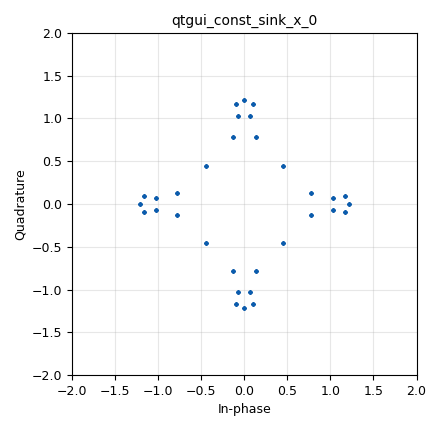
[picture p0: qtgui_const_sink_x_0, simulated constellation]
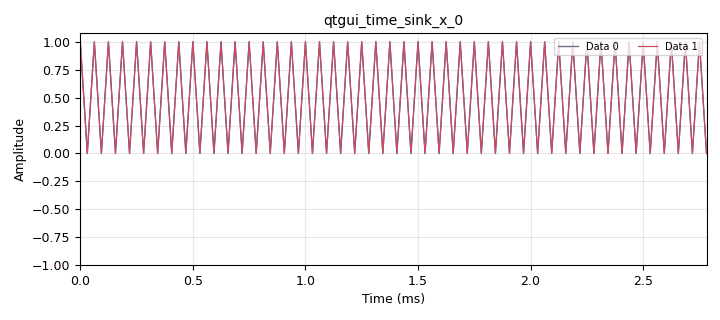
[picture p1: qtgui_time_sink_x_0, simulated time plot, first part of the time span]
<?xml version='1.0' encoding='utf-8'?>
<?grc format='1' created='3.7.10'?>
<flow_graph>
<block>
<key>options</key>
<param><key>id</key><value>BER</value></param>
<param><key>generate_options</key><value>qt_gui</value></param>
</block>
<block>
<key>variable</key>
<param><key>id</key><value>samp_rate</value></param>
<param><key>value</key><value>32000</value></param>
</block>
<block>
<key>blocks_char_to_float</key>
<param><key>id</key><value>blocks_char_to_float_0</value></param>
<param><key>scale</key><value>1</value></param>
</block>
<block>
<key>blocks_char_to_float</key>
<param><key>id</key><value>blocks_char_to_float_0_0</value></param>
<param><key>scale</key><value>1</value></param>
</block>
<block>
<key>blocks_delay</key>
<param><key>id</key><value>blocks_delay_0</value></param>
<param><key>delay</key><value>1</value></param>
<param><key>type</key><value>byte</value></param>
</block>
<block>
<key>blocks_pack_k_bits_bb</key>
<param><key>id</key><value>blocks_pack_k_bits_bb_0</value></param>
<param><key>k</key><value>2</value></param>
</block>
<block>
<key>blocks_throttle</key>
<param><key>id</key><value>blocks_throttle_0</value></param>
<param><key>samples_per_second</key><value>samp_rate</value></param>
<param><key>type</key><value>byte</value></param>
</block>
<block>
<key>blocks_unpacked_to_packed_xx</key>
<param><key>id</key><value>blocks_unpacked_to_packed_xx_0</value></param>
<param><key>bits_per_chunk</key><value>2</value></param>
<param><key>endianness</key><value>gr.GR_MSB_FIRST</value></param>
<param><key>type</key><value>byte</value></param>
</block>
<block>
<key>blocks_vector_source_x</key>
<param><key>id</key><value>blocks_vector_source_x_0</value></param>
<param><key>_enabled</key><value>0</value></param>
<param><key>type</key><value>byte</value></param>
<param><key>repeat</key><value>True</value></param>
<param><key>vlen</key><value>20</value></param>
<param><key>vector</key><value>(101,102,103,104,105,106,107,108,109,110,111,112,113,114,115,116,117,118,119,120)</value></param>
</block>
<block>
<key>blocks_vector_source_x</key>
<param><key>id</key><value>blocks_vector_source_x_0_0</value></param>
<param><key>type</key><value>byte</value></param>
<param><key>repeat</key><value>True</value></param>
<param><key>vector</key><value>(0,1,0,1)</value></param>
</block>
<block>
<key>blocks_vector_to_stream</key>
<param><key>id</key><value>blocks_vector_to_stream_0</value></param>
<param><key>_enabled</key><value>0</value></param>
<param><key>type</key><value>byte</value></param>
<param><key>num_items</key><value>20</value></param>
</block>
<block>
<key>digital_psk_demod</key>
<param><key>id</key><value>digital_psk_demod_0</value></param>
<param><key>differential</key><value>True</value></param>
<param><key>excess_bw</key><value>0.35</value></param>
<param><key>freq_bw</key><value>6.28/100.0</value></param>
<param><key>mod_code</key><value>"gray"</value></param>
<param><key>constellation_points</key><value>4</value></param>
<param><key>phase_bw</key><value>6.28/100.0</value></param>
<param><key>samples_per_symbol</key><value>4</value></param>
<param><key>timing_bw</key><value>6.28/100.0</value></param>
</block>
<block>
<key>digital_psk_mod</key>
<param><key>id</key><value>digital_psk_mod_0</value></param>
<param><key>differential</key><value>True</value></param>
<param><key>excess_bw</key><value>0.35</value></param>
<param><key>mod_code</key><value>"gray"</value></param>
<param><key>constellation_points</key><value>4</value></param>
<param><key>samples_per_symbol</key><value>4</value></param>
</block>
<block>
<key>fec_ber_bf</key>
<param><key>id</key><value>fec_ber_bf_0</value></param>
<param><key>test_mode</key><value>False</value></param>
</block>
<block>
<key>qtgui_const_sink_x</key>
<param><key>id</key><value>qtgui_const_sink_x_0</value></param>
<param><key>size</key><value>1024</value></param>
<param><key>type</key><value>complex</value></param>
</block>
<block>
<key>qtgui_number_sink</key>
<param><key>id</key><value>qtgui_number_sink_0</value></param>
<param><key>graph_type</key><value>qtgui.NUM_GRAPH_HORIZ</value></param>
<param><key>type</key><value>float</value></param>
</block>
<block>
<key>qtgui_time_sink_x</key>
<param><key>id</key><value>qtgui_time_sink_x_0</value></param>
<param><key>color1</key><value>"blue"</value></param>
<param><key>label1</key><value></value></param>
<param><key>color2</key><value>"red"</value></param>
<param><key>label2</key><value></value></param>
<param><key>nconnections</key><value>2</value></param>
<param><key>size</key><value>1024</value></param>
<param><key>srate</key><value>samp_rate</value></param>
<param><key>type</key><value>float</value></param>
</block>
<connection><source_block_id>blocks_char_to_float_0</source_block_id><sink_block_id>qtgui_time_sink_x_0</sink_block_id><source_key>0</source_key><sink_key>0</sink_key></connection>
<connection><source_block_id>blocks_char_to_float_0_0</source_block_id><sink_block_id>qtgui_time_sink_x_0</sink_block_id><source_key>0</source_key><sink_key>1</sink_key></connection>
<connection><source_block_id>blocks_delay_0</source_block_id><sink_block_id>blocks_char_to_float_0</sink_block_id><source_key>0</source_key><sink_key>0</sink_key></connection>
<connection><source_block_id>blocks_delay_0</source_block_id><sink_block_id>fec_ber_bf_0</sink_block_id><source_key>0</source_key><sink_key>0</sink_key></connection>
<connection><source_block_id>blocks_pack_k_bits_bb_0</source_block_id><sink_block_id>blocks_char_to_float_0_0</sink_block_id><source_key>0</source_key><sink_key>0</sink_key></connection>
<connection><source_block_id>blocks_pack_k_bits_bb_0</source_block_id><sink_block_id>fec_ber_bf_0</sink_block_id><source_key>0</source_key><sink_key>1</sink_key></connection>
<connection><source_block_id>blocks_throttle_0</source_block_id><sink_block_id>blocks_unpacked_to_packed_xx_0</sink_block_id><source_key>0</source_key><sink_key>0</sink_key></connection>
<connection><source_block_id>blocks_unpacked_to_packed_xx_0</source_block_id><sink_block_id>digital_psk_mod_0</sink_block_id><source_key>0</source_key><sink_key>0</sink_key></connection>
<connection><source_block_id>blocks_vector_source_x_0</source_block_id><sink_block_id>blocks_vector_to_stream_0</sink_block_id><source_key>0</source_key><sink_key>0</sink_key></connection>
<connection><source_block_id>blocks_vector_source_x_0_0</source_block_id><sink_block_id>blocks_delay_0</sink_block_id><source_key>0</source_key><sink_key>0</sink_key></connection>
<connection><source_block_id>blocks_vector_source_x_0_0</source_block_id><sink_block_id>blocks_throttle_0</sink_block_id><source_key>0</source_key><sink_key>0</sink_key></connection>
<connection><source_block_id>blocks_vector_to_stream_0</source_block_id><sink_block_id>blocks_throttle_0</sink_block_id><source_key>0</source_key><sink_key>0</sink_key></connection>
<connection><source_block_id>digital_psk_demod_0</source_block_id><sink_block_id>blocks_pack_k_bits_bb_0</sink_block_id><source_key>0</source_key><sink_key>0</sink_key></connection>
<connection><source_block_id>digital_psk_mod_0</source_block_id><sink_block_id>digital_psk_demod_0</sink_block_id><source_key>0</source_key><sink_key>0</sink_key></connection>
<connection><source_block_id>digital_psk_mod_0</source_block_id><sink_block_id>qtgui_const_sink_x_0</sink_block_id><source_key>0</source_key><sink_key>0</sink_key></connection>
<connection><source_block_id>fec_ber_bf_0</source_block_id><sink_block_id>qtgui_number_sink_0</sink_block_id><source_key>0</source_key><sink_key>0</sink_key></connection>
</flow_graph>
